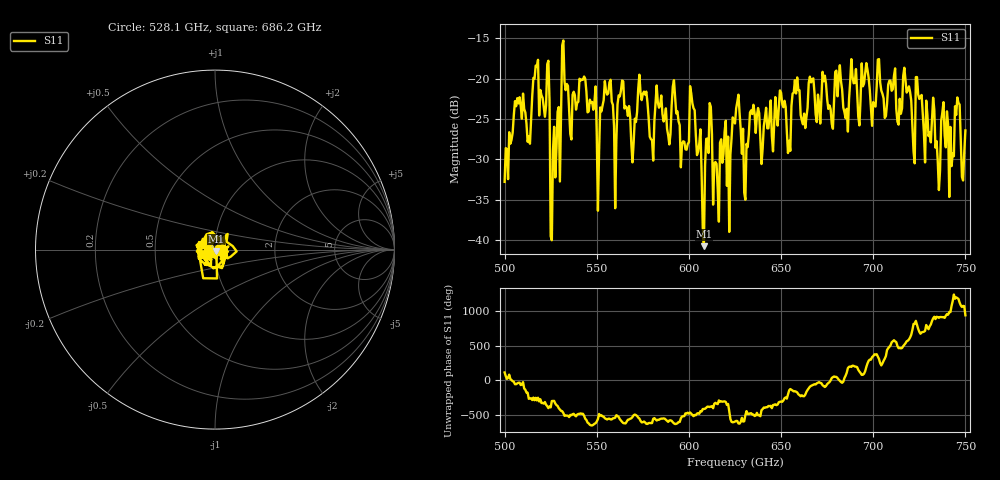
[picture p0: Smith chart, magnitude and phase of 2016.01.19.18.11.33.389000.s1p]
!Created with skrf (http://scikit-rf.org).
# GHz S RI R 50.0
!freq ReS11 ImS11
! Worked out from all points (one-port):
!   401 points, 500 GHz to 750 GHz, reference 50 ohm
!   lowest |S11| = -40.8 dB at 608.1 GHz (marker M1), VSWR 1.02, Z = 50.5 - j0.744 ohm
!   |S11| at or under -10 dB: start of sweep to end of sweep
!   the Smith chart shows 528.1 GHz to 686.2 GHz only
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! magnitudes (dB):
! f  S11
! 500 GHz  -32.8
! 506.9 GHz  -22.4
! 513.1 GHz  -27.2
! 516.9 GHz  -18.4
! 523.1 GHz  -18.2
! 526.2 GHz  -28.9
! 531.2 GHz  -15.9
! 542.5 GHz  -20.1
! 551.2 GHz  -29.2
! 562.5 GHz  -22.2
! 570 GHz  -28.0
! 573.8 GHz  -21.7
! 580 GHz  -27.6
! 593.8 GHz  -24.0
! 596.9 GHz  -27.8
! 601.9 GHz  -23.1
! 608.1 GHz  -40.8
! 610.6 GHz  -29.2
! 615 GHz  -30.6
! 625 GHz  -25.6
! 631.2 GHz  -28.1
! 634.4 GHz  -24.4
! 656.2 GHz  -21.8
! 687.5 GHz  -20.4
! 718.8 GHz  -21.5
! 735 GHz  -30.2
! 745.6 GHz  -22.3
! 750 GHz  -26.4
